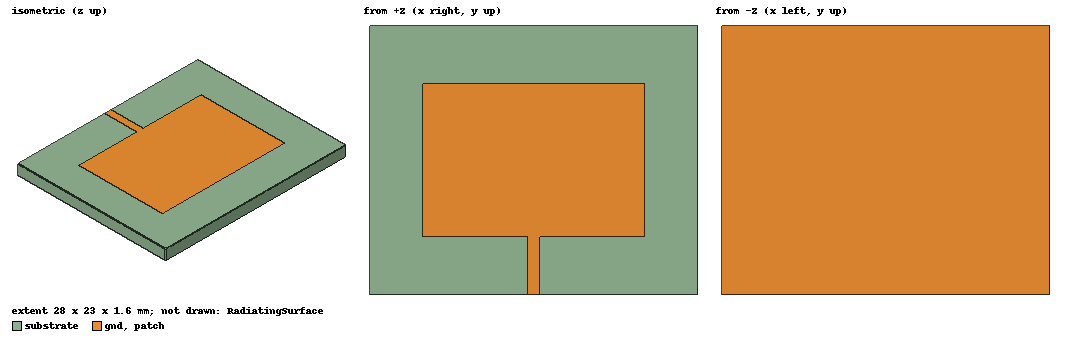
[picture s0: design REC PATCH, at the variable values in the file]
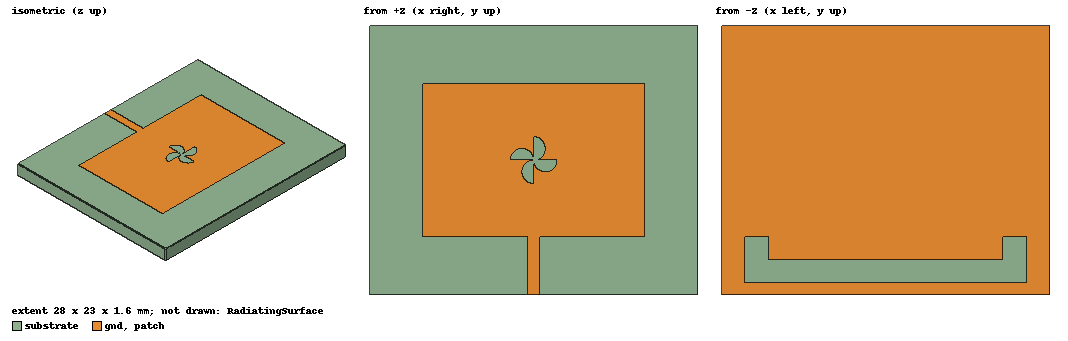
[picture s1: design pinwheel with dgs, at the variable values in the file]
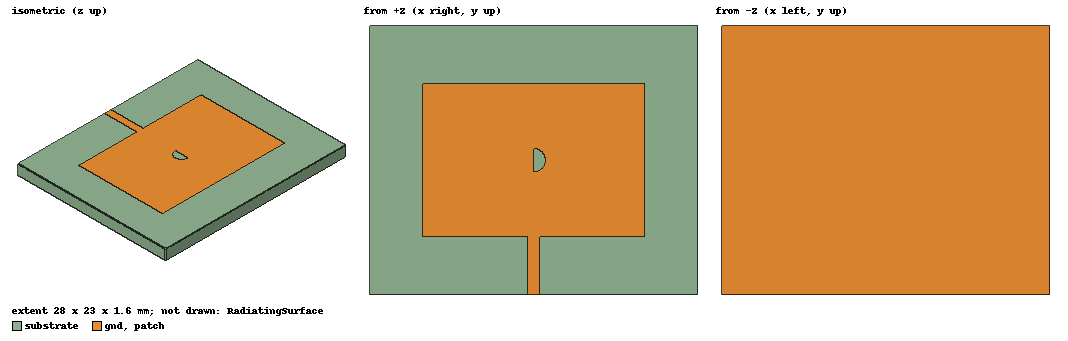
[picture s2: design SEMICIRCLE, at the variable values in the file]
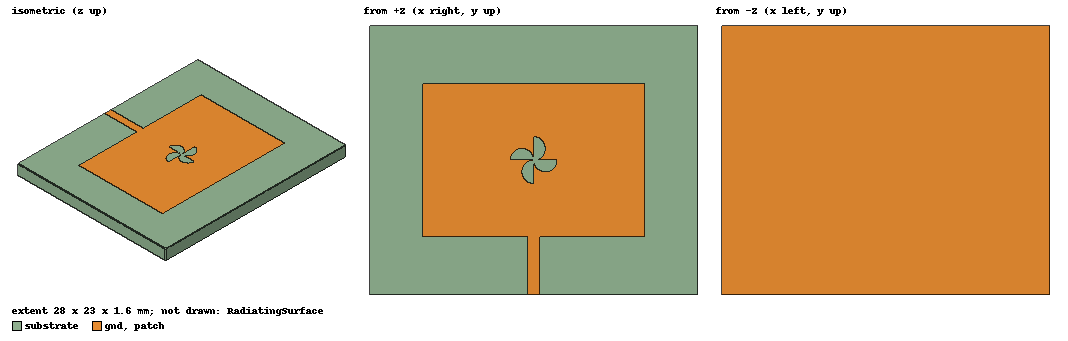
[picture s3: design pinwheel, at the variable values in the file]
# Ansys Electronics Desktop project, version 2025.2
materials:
  FR4_epoxy: permittivity=4.4 dielectric_loss_tangent=0.02
  vacuum: permittivity=1

design REC PATCH (HFSS, HFSS Modal Network, model units mm)
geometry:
  gnd = rectangle(corner=(0mm, 0mm, 0mm), x_size=28mm, y_size=23mm)
  substrate [FR4_epoxy] = box(corner=(0mm, 0mm, 0mm), size=(28mm, 23mm, 1.6mm))
  patch = rectangle(corner=(4.5mm, 5mm, 1.6mm), x_size=19mm, y_size=13mm)
  feed = rectangle(corner=(13.5mm, 0mm, 1.6mm), x_size=1mm, y_size=5mm)
  port = rectangle(corner=(13.5mm, 0mm, 0mm), z_size=1.6mm, x_size=1mm)
  patch.unite(feed)
  RadiatingSurface [vacuum] = region(absolute_offset=20mm on all sides)
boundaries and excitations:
  PerfE1: Perfect E Objects=[patch, gnd]
  Open1: Radiation Objects=RadiatingSurface
  1: Lumped Port Objects=port LumpedPortType=Modal Modes{Mode1{IntLine{(14, 0, 0) -> (14, 0, 1.6)} CharImp=Zpi}} Impedance=50ohm
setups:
  Setup1: HfssDriven Frequency=5GHz MaxDeltaS=0.02 MaximumPasses=6 MinimumPasses=1 MinimumConvergedPasses=1 PercentRefinement=30 BasisOrder=1 PortAccuracy=2 DrivenSolverType="Direct Solver"
    sweep Sweep: 2.5GHz to 7.5GHz step 0.0125GHz; Type=Fast SaveFields
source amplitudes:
  1:1: 1W 0deg
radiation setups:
  3D: Infinite Sphere Theta=0deg..180deg step 2deg Phi=-180deg..180deg step 2deg
  Elevation: Infinite Sphere Theta=-180deg..180deg step 1deg Phi=0deg..90deg step 90deg
  Azimuth: Infinite Sphere Theta=90deg..90deg step 0deg Phi=-180deg..180deg step 1deg
  Infinite Sphere1: Infinite Sphere Theta=0deg..180deg step 10deg Phi=0deg..360deg step 10deg
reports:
  S Parameter Plot1: dB(S(1,1)) vs Freq on Setup1 : Sweep; markers MY1 at y=-9.9723
  Gain Plot1: dB(GainTotal) vs Phi, Theta on Setup1 : Sweep, Infinite Sphere1 [Freq=5GHz]

design pinwheel with dgs (HFSS, HFSS Modal Network, model units mm)
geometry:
  gnd = rectangle(corner=(0mm, 0mm, 0mm), x_size=28mm, y_size=23mm)
  substrate [FR4_epoxy] = box(corner=(0mm, 0mm, 0mm), size=(28mm, 23mm, 1.6mm))
  patch = rectangle(corner=(4.5mm, 5mm, 1.6mm), x_size=19mm, y_size=13mm)
  feed = rectangle(corner=(13.5mm, 0mm, 1.6mm), x_size=1mm, y_size=5mm)
  port = rectangle(corner=(13.5mm, 0mm, 0mm), z_size=1.6mm, x_size=1mm)
  patch.unite(feed)
  RadiatingSurface [vacuum] = region(absolute_offset=20mm on all sides)
  Circle1 = circle(normal=Z, centre=(14mm, 12.499mm, 1.6mm), radius=1mm)
  Rectangle2 = rectangle(corner=(14mm, 11.5mm, 1.6mm), x_size=-2mm, y_size=2mm)
  Circle1.subtract(Rectangle2)
  Circle2 = circle(normal=Z, centre=(14mm, 10.501mm, 1.6mm), radius=1mm)
  Rectangle3 = rectangle(corner=(14mm, 9.5mm, 1.6mm), x_size=1mm, y_size=2mm)
  Circle2.subtract(Rectangle3)
  Circle3 = circle(normal=Z, centre=(14.999mm, 11.5mm, 1.6mm), radius=1mm)
  Rectangle5 = rectangle(corner=(14mm, 11.5mm, 1.6mm), x_size=2mm, y_size=1mm)
  Circle3.subtract(Rectangle5)
  Circle4 = circle(normal=Z, centre=(13.001mm, 11.5mm, 1.6mm), radius=1mm)
  Rectangle6 = rectangle(corner=(14mm, 11.5mm, 1.6mm), x_size=-2mm, y_size=-1mm)
  Circle4.subtract(Rectangle6)
  Rectangle7 = rectangle(corner=(4mm, 1mm, 0mm), x_size=20mm, y_size=2mm)
  Rectangle8 = rectangle(corner=(24mm, 1mm, 0mm), x_size=2mm, y_size=4mm)
  Rectangle9 = rectangle(corner=(2mm, 1mm, 0mm), x_size=2mm, y_size=4mm)
  Rectangle7.unite(Rectangle8, Rectangle9)
  gnd.subtract(Rectangle7)
  Circle1.unite(Circle4, Circle3, Circle2)
  patch.subtract(Circle1)
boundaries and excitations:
  PerfE1: Perfect E Objects=[patch, gnd]
  Open1: Radiation Objects=RadiatingSurface
  1: Lumped Port Objects=port LumpedPortType=Modal Modes{Mode1{IntLine{(14, 0, 0) -> (14, 0, 1.6)} CharImp=Zpi}} Impedance=50ohm
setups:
  Setup1: HfssDriven Frequency=5GHz MaxDeltaS=0.02 MaximumPasses=6 MinimumPasses=1 MinimumConvergedPasses=1 PercentRefinement=30 BasisOrder=1 PortAccuracy=2 DrivenSolverType="Direct Solver"
    sweep Sweep: 2.5GHz to 10GHz step 0.0125GHz; Type=Fast SaveFields
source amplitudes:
  1:1: 1W 0deg
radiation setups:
  3D: Infinite Sphere Theta=0deg..180deg step 2deg Phi=-180deg..180deg step 2deg
  Elevation: Infinite Sphere Theta=-180deg..180deg step 1deg Phi=0deg..90deg step 90deg
  Azimuth: Infinite Sphere Theta=90deg..90deg step 0deg Phi=-180deg..180deg step 1deg
  Infinite Sphere1: Infinite Sphere Theta=0deg..180deg step 10deg Phi=0deg..360deg step 10deg
  eh plane: Infinite Sphere Theta=0deg..360deg step 3deg Phi=0deg..90deg step 90deg
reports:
  S Parameter Plot1: dB(S(1,1)) vs Freq on Setup1 : Sweep; markers m1 at 4.6GHz, m2 at 5.45GHz, m3 at 8.7375GHz, m4 at 7.025GHz, MY1 at y=-10
  Gain Plot11: dB(GainTotal) vs Phi, Theta on Setup1 : Sweep, Infinite Sphere1 [Freq=4.6GHz]
  Gain Plot12: dB(GainTotal) vs Phi, Theta on Setup1 : Sweep, Infinite Sphere1 [Freq=7.025GHz]
  Gain Plot13: dB(GainTotal) vs Phi, Theta on Setup1 : Sweep, Infinite Sphere1 [Freq=8.7375GHz]
  Gain Plot14: dB(GainTotal) vs Phi, Theta on Setup1 : Sweep, Infinite Sphere1 [Freq=5.45GHz]
  Gain Plot15: dB(GainTotal) vs Theta on Setup1 : Sweep, eh plane [Phi=all Freq=5.45GHz]

design SEMICIRCLE (HFSS, HFSS Modal Network, model units mm)
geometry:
  gnd = rectangle(corner=(0mm, 0mm, 0mm), x_size=28mm, y_size=23mm)
  substrate [FR4_epoxy] = box(corner=(0mm, 0mm, 0mm), size=(28mm, 23mm, 1.6mm))
  patch = rectangle(corner=(4.5mm, 5mm, 1.6mm), x_size=19mm, y_size=13mm)
  feed = rectangle(corner=(13.5mm, 0mm, 1.6mm), x_size=1mm, y_size=5mm)
  port = rectangle(corner=(13.5mm, 0mm, 0mm), z_size=1.6mm, x_size=1mm)
  patch.unite(feed)
  RadiatingSurface [vacuum] = region(absolute_offset=20mm on all sides)
  Circle1 = circle(normal=Z, centre=(14mm, 11.5mm, 1.6mm), radius=1mm)
  Rectangle1 = rectangle(corner=(13mm, 10.5mm, 1.6mm), x_size=1mm, y_size=2mm)
  Circle1.subtract(Rectangle1)
  patch.subtract(Circle1)
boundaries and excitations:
  PerfE1: Perfect E Objects=[patch, gnd]
  Open1: Radiation Objects=RadiatingSurface
  1: Lumped Port Objects=port LumpedPortType=Modal Modes{Mode1{IntLine{(14, 0, 0) -> (14, 0, 1.6)} CharImp=Zpi}} Impedance=50ohm
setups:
  Setup1: HfssDriven Frequency=5GHz MaxDeltaS=0.02 MaximumPasses=6 MinimumPasses=1 MinimumConvergedPasses=1 PercentRefinement=30 BasisOrder=1 PortAccuracy=2 DrivenSolverType="Direct Solver"
    sweep Sweep: 2.5GHz to 7.5GHz step 0.0125GHz; Type=Fast SaveFields
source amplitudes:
  1:1: 1W 0deg
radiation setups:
  3D: Infinite Sphere Theta=0deg..180deg step 2deg Phi=-180deg..180deg step 2deg
  Elevation: Infinite Sphere Theta=-180deg..180deg step 1deg Phi=0deg..90deg step 90deg
  Azimuth: Infinite Sphere Theta=90deg..90deg step 0deg Phi=-180deg..180deg step 1deg
  Infinite Sphere1: Infinite Sphere Theta=0deg..180deg step 10deg Phi=0deg..360deg step 10deg
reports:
  S Parameter Plot1: dB(S(1,1)) vs Freq on Setup1 : Sweep; markers m1 at 5GHz, MY1 at y=-10
  Gain Plot9: dB(GainTotal) vs Phi, Theta on Setup1 : Sweep, Infinite Sphere1 [Freq=5GHz]

design pinwheel (HFSS, HFSS Modal Network, model units mm)
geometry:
  gnd = rectangle(corner=(0mm, 0mm, 0mm), x_size=28mm, y_size=23mm)
  substrate [FR4_epoxy] = box(corner=(0mm, 0mm, 0mm), size=(28mm, 23mm, 1.6mm))
  patch = rectangle(corner=(4.5mm, 5mm, 1.6mm), x_size=19mm, y_size=13mm)
  feed = rectangle(corner=(13.5mm, 0mm, 1.6mm), x_size=1mm, y_size=5mm)
  port = rectangle(corner=(13.5mm, 0mm, 0mm), z_size=1.6mm, x_size=1mm)
  patch.unite(feed)
  RadiatingSurface [vacuum] = region(absolute_offset=20mm on all sides)
  Circle1 = circle(normal=Z, centre=(14mm, 12.499mm, 1.6mm), radius=1mm)
  Rectangle2 = rectangle(corner=(14mm, 11.499mm, 1.6mm), x_size=-2mm, y_size=2mm)
  Circle1.subtract(Rectangle2)
  Polyline1 [non-model] = polyline((14mm, 23mm, 1.6mm) (14mm, 0mm, 0mm))
  Polyline2 [non-model] = polyline((0mm, 11.5mm, 1.6mm) (28mm, 11.5mm, 0mm))
  Circle2 = circle(normal=Z, centre=(14mm, 10.501mm, 1.6mm), radius=1mm)
  Rectangle3 = rectangle(corner=(14mm, 9.501mm, 1.6mm), x_size=1mm, y_size=2mm)
  Circle2.subtract(Rectangle3)
  Circle3 = circle(normal=Z, centre=(14.999mm, 11.5mm, 1.6mm), radius=1mm)
  Rectangle5 = rectangle(corner=(13.999mm, 11.5mm, 1.6mm), x_size=2mm, y_size=1mm)
  Circle3.subtract(Rectangle5)
  Circle4 = circle(normal=Z, centre=(13.001mm, 11.5mm, 1.6mm), radius=1mm)
  Rectangle6 = rectangle(corner=(14.001mm, 11.5mm, 1.6mm), x_size=-2mm, y_size=-1mm)
  Circle4.subtract(Rectangle6)
  Circle1.unite(Circle4, Circle3, Circle2)
  patch.subtract(Circle1)
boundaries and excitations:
  PerfE1: Perfect E Objects=[patch, gnd]
  Open1: Radiation Objects=RadiatingSurface
  1: Lumped Port Objects=port LumpedPortType=Modal Modes{Mode1{IntLine{(14, 0, 0) -> (14, 0, 1.6)} CharImp=Zpi}} Impedance=50ohm
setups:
  Setup1: HfssDriven Frequency=5GHz MaxDeltaS=0.02 MaximumPasses=6 MinimumPasses=1 MinimumConvergedPasses=1 PercentRefinement=30 BasisOrder=1 PortAccuracy=2 DrivenSolverType="Direct Solver"
    sweep Sweep: 2.5GHz to 10GHz step 0.0125GHz; Type=Fast SaveFields
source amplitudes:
  1:1: 1W 0deg
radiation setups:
  3D: Infinite Sphere Theta=0deg..180deg step 2deg Phi=-180deg..180deg step 2deg
  Elevation: Infinite Sphere Theta=-180deg..180deg step 1deg Phi=0deg..90deg step 90deg
  Azimuth: Infinite Sphere Theta=90deg..90deg step 0deg Phi=-180deg..180deg step 1deg
  Infinite Sphere1: Infinite Sphere Theta=0deg..180deg step 10deg Phi=0deg..360deg step 10deg
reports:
  S Parameter Plot1: dB(S(1,1)) vs Freq on Setup1 : Sweep; markers m1 at 4.9875GHz, m2 at 8.9375GHz, m3 at 9.4125GHz, m4 at 7.025GHz, MY1 at y=-10
  Gain Plot11: dB(GainTotal) vs Phi, Theta on Setup1 : Sweep, Infinite Sphere1 [Freq=4.9875GHz]
